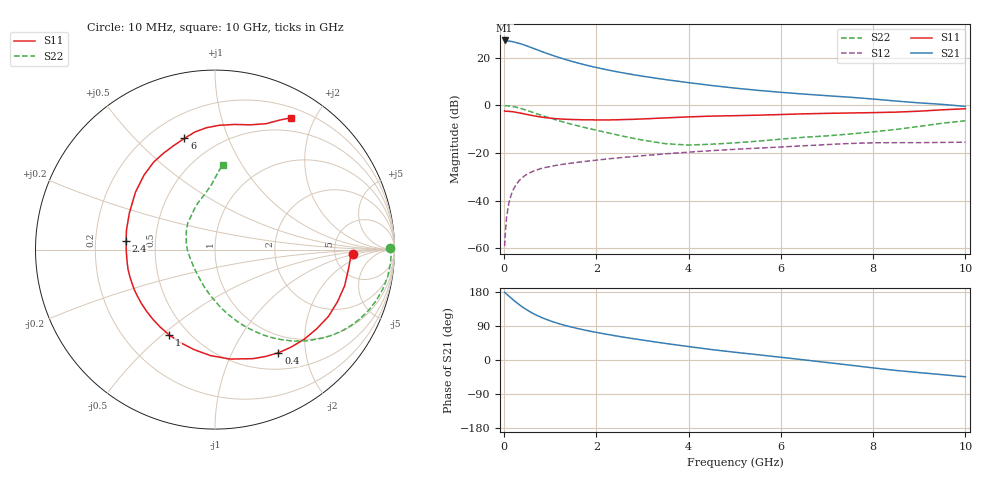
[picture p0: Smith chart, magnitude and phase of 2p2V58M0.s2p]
! (c) 2009  Infineon Technologies AG, Munich
! Infineon Technologies  Discrete & RF Semiconductors
! BFP420
! VCE =  2.5 V,  IC =  8.0 mA
! Common Emitter S-Parameters:  Nov 2009
# GHz  S  MA  R  50
!  f  S11  S21  S12  S22
! GHz  MAG  ANG  MAG  ANG  MAG  ANG  MAG  ANG
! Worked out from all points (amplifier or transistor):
!   46 points, 10 MHz to 10 GHz, reference 50 ohm
!   highest |S21| = 27.3 dB at 10 MHz (marker M1)
!   |S21| within 3 dB of that: start of sweep to 589.3 MHz
!   unconditionally stable (mu >= 1): 2.557 GHz to end of sweep
!   at 300 MHz: K = 0.15, MSG = 29.2 dB, |S12| = -32.3 dB
!   at 1.7 GHz: K = 0.75, MSG = 20.5 dB, |S12| = -23.7 dB
!   at 10 GHz: K = 1.10, MAG = 5.6 dB, |S12| = -15.4 dB
!   lowest NFmin = 0.79 dB at 900 MHz
!   S11 on the Smith chart (normalised r, x): 10 MHz: 7.45, -0.92; 400 MHz: 0.73, -1.54; 1 GHz: 0.39, -0.53; 2.4 GHz: 0.34, +0.04; 6 GHz: 0.33, +0.71; 10 GHz: 0.32, +1.69
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0.01  0.7666 -1.9  23.17 179.0  0.0011 77.6  0.9753 0.6
0.02  0.757 -3.2  22.61 177.7  0.0017 85.4  0.9818 -1.7
0.1  0.7499 -15.6  22.49 168.9  0.0087 83.2  0.9738 -8.9
0.2  0.7334 -30.6  21.67 158.4  0.0171 75.2  0.9419 -17.6
0.3  0.7047 -45.1  20.48 148.5  0.0244 69.0  0.8951 -25.5
0.4  0.6749 -58.4  19.1 139.7  0.0307 63.3  0.8395 -32.7
0.5  0.6436 -70.7  17.65 131.7  0.0359 58.6  0.7816 -38.9
0.6  0.6158 -82.1  16.26 124.6  0.0403 54.6  0.725 -44.5
0.7  0.5911 -92.4  14.94 118.3  0.0439 51.2  0.6718 -49.4
0.8  0.5699 -101.6  13.73 112.8  0.047 48.7  0.6234 -53.6
1  0.5397 -118.2  11.7 103.3  0.0521 44.7  0.5399 -61.1
1.3  0.5132 -137.9  9.402 92.0  0.0584 40.9  0.4438 -70.2
1.7  0.4987 -158.5  7.341 80.2  0.0655 37.8  0.3521 -80.5
2.4  0.4974 174.6  5.197 64.1  0.0776 33.8  0.246 -98.1
2.8  0.5097 162.2  4.422 56.3  0.0843 31.7  0.2035 -110.0
3.5  0.5464 144.2  3.484 43.7  0.0959 27.7  0.1567 -136.4
4.5  0.5953 125.0  2.619 27.5  0.112 21.0  0.153 -177.3
5.5  0.623 111.8  2.073 13.9  0.1264 14.4  0.1772 155.5
6  0.6427 105.4  1.884 7.2  0.1337 11.1  0.1953 144.3
7  0.6807 94.0  1.599 -6.6  0.1502 3.3  0.2288 125.9
8.5  0.7225 74.2  1.234 -27.6  0.1646 -12.0  0.313 100.6
10  0.8494 59.9  0.953 -44.3  0.169 -22.0  0.4755 84.9
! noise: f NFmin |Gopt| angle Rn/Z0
0.9  0.79  0.08  30  0.13
1.8  1.14  0.06  171  0.12
2.4  1.24  0.1  160  0.13
3  1.32  0.17  -165  0.12
4  1.46  0.32  -132  0.14
5  1.85  0.39  -110  0.25
6  2.3  0.46  -95  0.37
